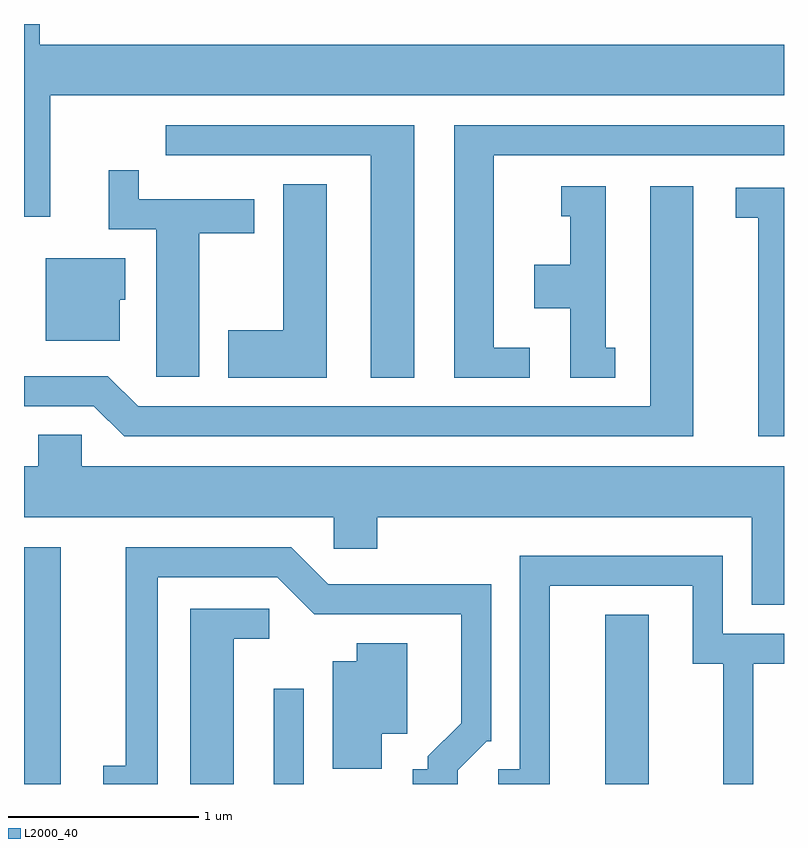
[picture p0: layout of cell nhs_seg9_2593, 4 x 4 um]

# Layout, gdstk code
import gdstk
lib = gdstk.Library(unit=1e-6, precision=1e-09)
def R(c, l, rs):  # rectangles x0, y0, x1, y1
    for r in rs: c.add(gdstk.rectangle(r[:2], r[2:], *l))
def P(c, l, *ps):  # polygons
    for p in ps: c.add(gdstk.Polygon(p, *l))
L2000_40 = (2000, 40)

nhs_seg9_2593 = lib.new_cell('nhs_seg9_2593')
R(nhs_seg9_2593, L2000_40, [(261.611,1970.432,261.804,1971.679), (262.926,1970.432,263.084,1970.933), (264.671,1970.432,264.899,1971.324)])
P(nhs_seg9_2593, L2000_40, [(261.749,1974.056),(265.611,1974.056),(265.611,1974.324),(261.694,1974.324),(261.694,1974.432),(261.611,1974.432),(261.611,1973.418),(261.749,1973.418)],
  [(264.273,1972.729),(264.084,1972.729),(264.084,1973.741),(265.611,1973.741),(265.611,1973.899),(263.876,1973.899),(263.876,1972.571),(264.273,1972.571)],
  [(263.664,1973.899),(262.358,1973.899),(262.358,1973.741),(263.436,1973.741),(263.436,1972.571),(263.664,1972.571)],
  [(262.534,1973.331),(262.824,1973.331),(262.824,1973.509),(262.214,1973.509),(262.214,1973.663),(262.056,1973.663),(262.056,1973.351),(262.306,1973.351),(262.306,1972.576),(262.534,1972.576)],
  [(263.204,1973.589),(262.976,1973.589),(262.976,1972.819),(262.686,1972.819),(262.686,1972.571),(263.204,1972.571)],
  [(264.723,1972.729),(264.674,1972.729),(264.674,1973.579),(264.438,1973.579),(264.438,1973.421),(264.486,1973.421),(264.486,1973.164),(264.296,1973.164),(264.296,1972.936),(264.486,1972.936),(264.486,1972.571),(264.723,1972.571)],
  [(265.134,1973.579),(264.906,1973.579),(264.906,1972.419),(262.212,1972.419),(262.052,1972.579),(261.611,1972.579),(261.611,1972.421),(261.979,1972.421),(262.139,1972.261),(265.134,1972.261)],
  [(265.611,1973.569),(265.358,1973.569),(265.358,1973.411),(265.476,1973.411),(265.476,1972.261),(265.611,1972.261)],
  [(262.114,1972.981),(262.144,1972.981),(262.144,1973.199),(261.726,1973.199),(261.726,1972.766),(262.114,1972.766)],
  [(265.611,1972.104),(261.914,1972.104),(261.914,1972.269),(261.686,1972.269),(261.686,1972.104),(261.611,1972.104),(261.611,1971.836),(263.241,1971.836),(263.241,1971.671),(263.469,1971.671),(263.469,1971.836),(265.441,1971.836),(265.441,1971.376),(265.611,1971.376)],
  [(262.314,1971.521),(262.944,1971.521),(263.139,1971.326),(263.911,1971.326),(263.911,1970.752),(263.736,1970.577),(263.736,1970.509),(263.658,1970.509),(263.658,1970.432),(263.894,1970.432),(263.894,1970.504),(264.047,1970.656),(264.069,1970.656),(264.069,1971.484),(263.212,1971.484),(263.017,1971.679),(262.146,1971.679),(262.146,1970.529),(262.028,1970.529),(262.028,1970.432),(262.314,1970.432)],
  [(264.379,1971.476),(265.131,1971.476),(265.131,1971.066),(265.291,1971.066),(265.291,1970.432),(265.449,1970.432),(265.449,1971.066),(265.611,1971.066),(265.611,1971.224),(265.289,1971.224),(265.289,1971.634),(264.221,1971.634),(264.221,1970.509),(264.108,1970.509),(264.108,1970.432),(264.379,1970.432)],
  [(262.714,1971.196),(262.903,1971.196),(262.903,1971.354),(262.486,1971.354),(262.486,1970.432),(262.714,1970.432)],
  [(263.494,1970.696),(263.629,1970.696),(263.629,1971.174),(263.361,1971.174),(263.361,1971.079),(263.236,1971.079),(263.236,1970.511),(263.494,1970.511)])

lib.write_gds('nhs_seg9_2593.gds')
